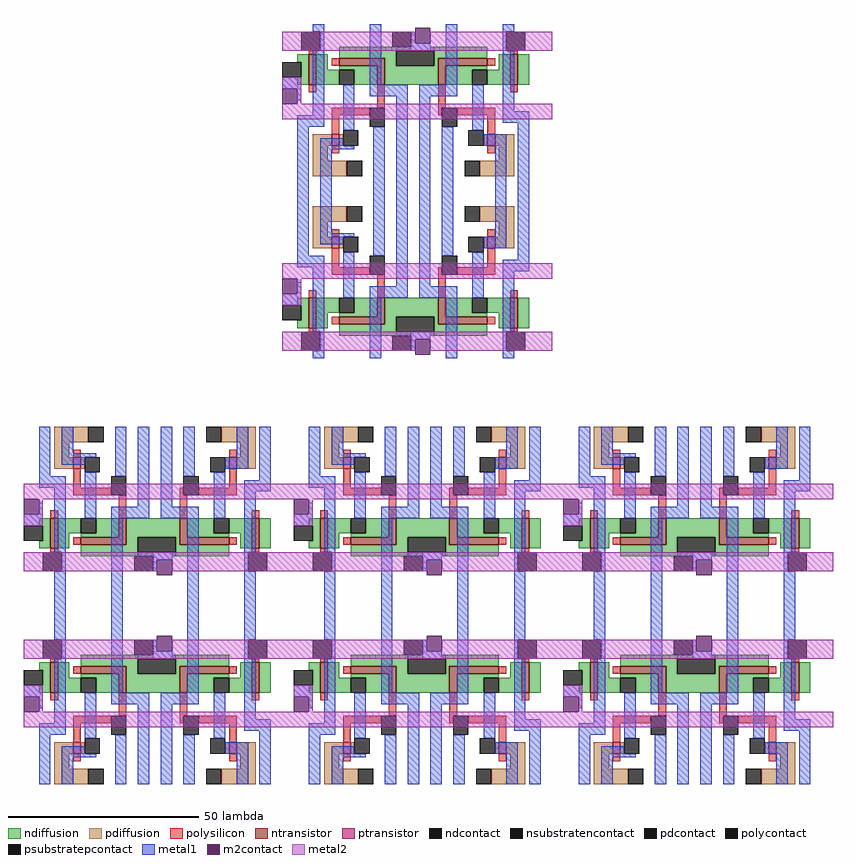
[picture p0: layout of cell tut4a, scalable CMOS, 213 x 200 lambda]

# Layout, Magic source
magic
tech scmos
<< metal1 >>
rect 1 36 4 44
rect 7 36 10 44
rect 21 36 24 44
rect 27 36 30 44
rect 33 36 36 44
rect 39 36 42 44
rect 53 36 56 44
rect 59 36 62 44
use tut4x tut4x_1
transform 1 0 13 0 -1 156
box -16 72 55 112
use tut4x tut4x_0
transform 1 0 13 0 1 -76
box -16 72 55 112
use tut4y tut4y_0
transform 1 0 -68 0 1 -59
box -3 -10 210 37
use tut4y tut4y_1
transform 1 0 -68 0 -1 -79
box -3 -10 210 37
<< end >>

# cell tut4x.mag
magic
tech scmos
<< polysilicon >>
rect -3 104 -1 106
rect 38 104 40 106
rect -3 96 -1 101
rect -3 94 7 96
rect -9 88 -7 90
rect 9 88 11 94
rect 25 94 26 96
rect 38 96 40 101
rect 30 94 40 96
rect 25 88 27 94
rect 44 88 46 90
rect -3 81 -1 83
rect -9 79 -7 80
rect 38 81 40 83
rect 44 79 46 80
<< ndiffusion >>
rect -12 86 -9 88
rect -11 82 -9 86
rect -12 80 -9 82
rect -7 84 -1 88
rect 3 84 9 88
rect -7 80 -4 84
rect -1 83 9 84
rect 11 83 25 88
rect 27 84 34 88
rect 38 84 44 88
rect 27 83 38 84
rect 11 81 14 83
rect -1 79 14 81
rect 24 81 25 83
rect 24 79 38 81
rect 41 80 44 84
rect 46 80 49 88
rect -1 78 18 79
rect 23 78 38 79
<< pdiffusion >>
rect -8 108 1 112
rect 36 108 45 112
rect -8 104 -4 108
rect 41 104 45 108
rect -8 101 -3 104
rect -1 101 0 104
rect 37 101 38 104
rect 40 101 45 104
<< metal1 >>
rect -12 99 -9 112
rect -6 105 -3 112
rect -6 104 3 105
rect -6 102 0 104
rect -12 96 -5 99
rect -12 89 -11 92
rect -16 86 -11 89
rect -8 79 -5 96
rect 0 88 3 100
rect 8 99 11 112
rect 14 91 17 112
rect 7 88 17 91
rect 20 91 23 112
rect 26 99 29 112
rect 40 104 43 112
rect 37 101 43 104
rect 20 88 30 91
rect -6 74 -5 79
rect -8 72 -5 74
rect 7 72 10 88
rect 14 78 24 79
rect 18 77 23 78
rect 18 74 19 77
rect 27 72 30 88
rect 34 88 37 100
rect 46 98 49 112
rect 42 95 49 98
rect 42 79 45 95
rect 42 74 43 79
rect 42 72 45 74
<< metal2 >>
rect -16 93 55 97
rect -12 89 -11 93
rect -16 86 -11 89
rect -16 77 55 79
rect -16 74 19 77
rect 23 74 55 77
<< polycontact >>
rect 7 94 11 99
rect 26 94 30 99
rect -11 74 -6 79
rect 43 74 48 79
<< ndcontact >>
rect -16 82 -11 86
rect -1 84 3 88
rect 34 84 38 88
rect 14 79 24 83
<< pdcontact >>
rect 0 100 4 104
rect 33 100 37 104
<< m2contact >>
rect -16 89 -12 93
rect 19 73 23 77
<< ntransistor >>
rect -9 80 -7 88
rect 9 83 11 88
rect 25 83 27 88
rect -1 81 11 83
rect 25 81 38 83
rect 44 80 46 88
<< ptransistor >>
rect -3 101 -1 104
rect 38 101 40 104
<< psubstratepcontact >>
rect 13 74 18 78
<< nsubstratencontact >>
rect 1 108 5 112
rect 32 108 36 112
<< labels >>
rlabel metal1 -8 72 -5 72 1 accA0
rlabel metal1 7 72 10 72 1 accB0
rlabel metal1 27 72 30 72 1 accB1
rlabel metal1 42 72 45 72 1 accA1
rlabel metal2 55 74 55 79 7 GND!
rlabel metal2 55 93 55 97 7 busA0
<< end >>

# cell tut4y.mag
magic
tech scmos
<< metal1 >>
rect 5 -10 8 -3
rect 20 -10 23 -3
rect 40 -10 43 -3
rect 55 -10 58 -3
rect 76 -10 79 -3
rect 91 -10 94 -3
rect 111 -10 114 -3
rect 126 -10 129 -3
rect 147 -10 150 -3
rect 162 -10 165 -3
rect 182 -10 185 -3
rect 197 -10 200 -3
use tut4x tut4x_0
array 0 2 71 0 0 39
transform 1 0 13 0 1 -75
box -16 72 55 112
<< end >>
